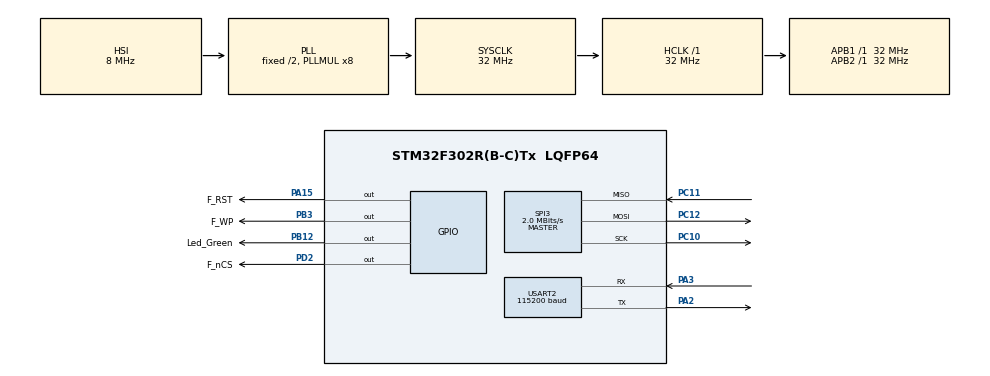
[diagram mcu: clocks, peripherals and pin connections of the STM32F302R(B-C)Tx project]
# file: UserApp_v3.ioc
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Mcu.Family=STM32F3
Mcu.Name=STM32F302R(B-C)Tx
Mcu.Package=LQFP64
NVIC.PriorityGroup=NVIC_PRIORITYGROUP_4
NVIC.USART2_IRQn=true\:0\:0\:false\:false\:true\:true\:true\:true
PA15.GPIO_Label=F_RST
PA15.Signal=GPIO_Output
PA2.Mode=Asynchronous
PA2.Signal=USART2_TX
PA3.Mode=Asynchronous
PA3.Signal=USART2_RX
PB12.GPIO_Label=Led_Green
PB12.Signal=GPIO_Output
PB3.GPIO_Label=F_WP
PB3.Signal=GPIO_Output
PC10.Mode=Full_Duplex_Master
PC10.Signal=SPI3_SCK
PC11.Mode=Full_Duplex_Master
PC11.Signal=SPI3_MISO
PC12.Mode=Full_Duplex_Master
PC12.Signal=SPI3_MOSI
PD2.GPIO_Label=F_nCS
PD2.Signal=GPIO_Output
ProjectManager.HeapSize=0x200
ProjectManager.StackSize=0x400
ProjectManager.TargetToolchain=STM32CubeIDE
RCC.AHBFreq_Value=32000000
RCC.APB1Freq_Value=32000000
RCC.APB1TimFreq_Value=32000000
RCC.APB2Freq_Value=32000000
RCC.APB2TimFreq_Value=32000000
RCC.CortexFreq_Value=32000000
RCC.HCLKFreq_Value=32000000
RCC.HSE_VALUE=8000000
RCC.HSI_VALUE=8000000
RCC.LSE_VALUE=32768
RCC.PLLMUL=RCC_PLL_MUL8
RCC.SYSCLKFreq_VALUE=32000000
RCC.SYSCLKSourceVirtual=RCC_SYSCLKSOURCE_PLLCLK
RCC.USBFreq_Value=32000000
SPI3.BaudRatePrescaler=SPI_BAUDRATEPRESCALER_16
SPI3.CalculateBaudRate=2.0 MBits/s
SPI3.DataSize=SPI_DATASIZE_8BIT
SPI3.Direction=SPI_DIRECTION_2LINES
SPI3.Mode=SPI_MODE_MASTER
SPI3.NSSPMode=SPI_NSS_PULSE_DISABLE
SPI3.VirtualType=VM_MASTER
USART2.BaudRate=115200
USART2.VirtualMode-Asynchronous=VM_ASYNC
board=custom

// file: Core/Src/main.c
/* USER CODE BEGIN Header */
/**
  ******************************************************************************
  * @file           : main.c
  * @brief          : Main program body
  ******************************************************************************
  * @attention
  *
  * Copyright (c) 2024 STMicroelectronics.
  * All rights reserved.
  *
  * This software is licensed under terms that can be found in the LICENSE file
  * in the root directory of this software component.
  * If no LICENSE file comes with this software, it is provided AS-IS.
  *
  ******************************************************************************
  */
/* USER CODE END Header */
#include "main.h"
#include "spi.h"
#include "usart.h"
#include "gpio.h"

/* USER CODE BEGIN Includes */
#include "ext_flash_w25q64.h"
#include "int_flash.h"
#include "packetHandler.h"
/* USER CODE END Includes */

/* USER CODE BEGIN PV */
uint32_t 	flashWriteAddress	= 0;
uint32_t 	extFlashReadAddress	= 0;
uint32_t 	flashReadData[512]	= {0};
uint32_t	errorCode			= 0;
uint16_t 	receivedPacketSize 	= 0;
uint8_t  	DataFlagReadBack 	= 0;
uint8_t 	dummyFlagData 		= 0;
uint8_t 	uartRxData[270]		= {0};
uint8_t 	packetReceived 		= 0;
uint8_t		device_Id[2]		= {0};
/* USER CODE END PV */

void SystemClock_Config(void);

int main(void)
{

  /* MCU Configuration--------------------------------------------------------*/

  /* Reset of all peripherals, Initializes the Flash interface and the Systick. */
  HAL_Init();

  /* Configure the system clock */
  SystemClock_Config();

  /* Initialize all configured peripherals */
  MX_GPIO_Init();
  MX_SPI3_Init();
  MX_USART2_UART_Init();
  /* USER CODE BEGIN 2 */
  extFlashHardReset();
  HAL_Delay(1);
  extFlashSendCommand(ENABLE_RESET);
  extFlashSendCommand(RESET_DEVICE);
  extFlashSendCommand(GLOBAL_UNLOCK);
  HAL_UARTEx_ReceiveToIdle_IT(&huart2, uartRxData, 512);
  /* USER CODE END 2 */

  /* Infinite loop */
  /* USER CODE BEGIN WHILE */
  while (1)
  {
	  if(packetReceived){
		  packetReceived = 0;
		  processPacketTest(uartRxData, receivedPacketSize);
	  }
	  HAL_GPIO_WritePin(Led_Green_GPIO_Port, Led_Green_Pin, GPIO_PIN_SET);
	  HAL_Delay(500);
	  HAL_GPIO_WritePin(Led_Green_GPIO_Port, Led_Green_Pin, GPIO_PIN_RESET);
	  HAL_Delay(500);
    /* USER CODE END WHILE */

  }
}

void SystemClock_Config(void)
{
  RCC_OscInitTypeDef RCC_OscInitStruct = {0};
  RCC_ClkInitTypeDef RCC_ClkInitStruct = {0};
  RCC_PeriphCLKInitTypeDef PeriphClkInit = {0};

  /** Initializes the RCC Oscillators according to the specified parameters
  * in the RCC_OscInitTypeDef structure.
  */
  RCC_OscInitStruct.OscillatorType = RCC_OSCILLATORTYPE_HSI;
  RCC_OscInitStruct.HSIState = RCC_HSI_ON;
  RCC_OscInitStruct.HSICalibrationValue = RCC_HSICALIBRATION_DEFAULT;
  RCC_OscInitStruct.PLL.PLLState = RCC_PLL_ON;
  RCC_OscInitStruct.PLL.PLLSource = RCC_PLLSOURCE_HSI;
  RCC_OscInitStruct.PLL.PLLMUL = RCC_PLL_MUL8;
  if (HAL_RCC_OscConfig(&RCC_OscInitStruct) != HAL_OK)
  {
    Error_Handler();
  }

  /** Initializes the CPU, AHB and APB buses clocks
  */
  RCC_ClkInitStruct.ClockType = RCC_CLOCKTYPE_HCLK|RCC_CLOCKTYPE_SYSCLK
                              |RCC_CLOCKTYPE_PCLK1|RCC_CLOCKTYPE_PCLK2;
  RCC_ClkInitStruct.SYSCLKSource = RCC_SYSCLKSOURCE_PLLCLK;
  RCC_ClkInitStruct.AHBCLKDivider = RCC_SYSCLK_DIV1;
  RCC_ClkInitStruct.APB1CLKDivider = RCC_HCLK_DIV1;
  RCC_ClkInitStruct.APB2CLKDivider = RCC_HCLK_DIV1;

  if (HAL_RCC_ClockConfig(&RCC_ClkInitStruct, FLASH_LATENCY_1) != HAL_OK)
  {
    Error_Handler();
  }
  PeriphClkInit.PeriphClockSelection = RCC_PERIPHCLK_USART2;
  PeriphClkInit.Usart2ClockSelection = RCC_USART2CLKSOURCE_PCLK1;
  if (HAL_RCCEx_PeriphCLKConfig(&PeriphClkInit) != HAL_OK)
  {
    Error_Handler();
  }
}

/* USER CODE BEGIN 4 */
void HAL_UARTEx_RxEventCallback(UART_HandleTypeDef *huart, uint16_t Size){
	packetReceived = 1;
	receivedPacketSize = Size;
	HAL_UARTEx_ReceiveToIdle_IT(&huart2, uartRxData, 512);
}
/* USER CODE END 4 */

void Error_Handler(void)
{
  __disable_irq();
  while (1)
  {
  }
}
